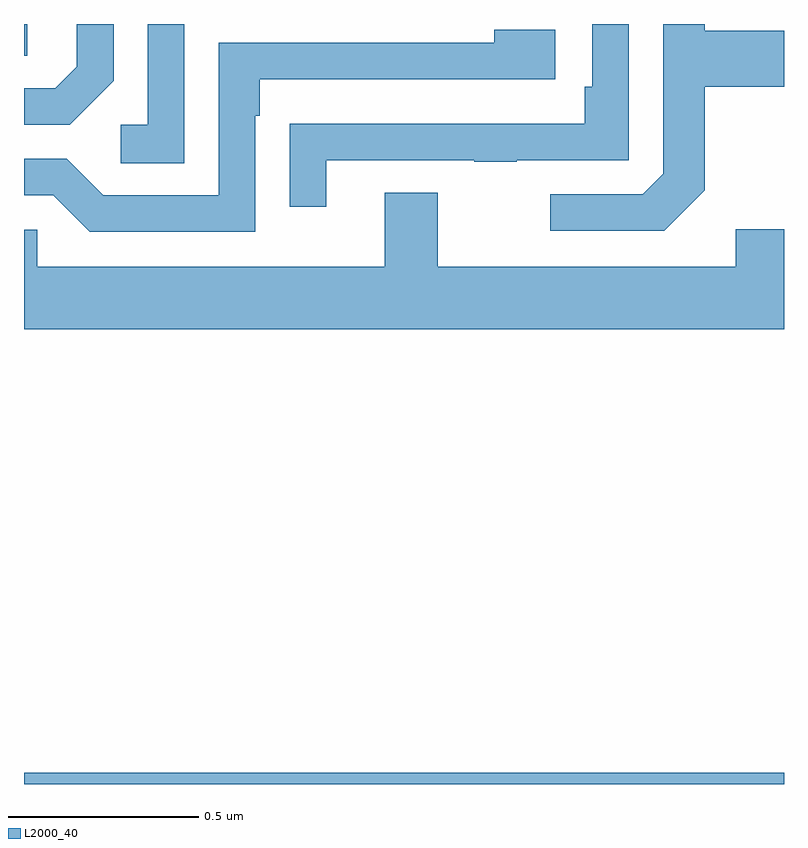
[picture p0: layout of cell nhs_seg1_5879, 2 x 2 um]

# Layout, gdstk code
import gdstk
lib = gdstk.Library(unit=1e-6, precision=1e-09)
def R(c, l, rs):  # rectangles x0, y0, x1, y1
    for r in rs: c.add(gdstk.rectangle(r[:2], r[2:], *l))
def P(c, l, *ps):  # polygons
    for p in ps: c.add(gdstk.Polygon(p, *l))
L2000_40 = (2000, 40)

nhs_seg1_5879 = lib.new_cell('nhs_seg1_5879')
R(nhs_seg1_5879, L2000_40, [(184,553.199,186,553.228), (184,555.115,184.008,555.199)])
P(nhs_seg1_5879, L2000_40, [(184.422,555.199),(184.326,555.199),(184.326,554.934),(184.254,554.934),(184.254,554.833),(184.422,554.833)],
  [(185.791,554.761),(185.791,555.034),(186,555.034),(186,555.181),(185.791,555.181),(185.791,555.199),(185.682,555.199),(185.682,554.805),(185.628,554.751),(185.385,554.751),(185.385,554.655),(185.685,554.655)],
  [(184.236,555.05),(184.236,555.199),(184.139,555.199),(184.139,555.087),(184.082,555.03),(184,555.03),(184,554.934),(184.12,554.934)],
  [(184.795,554.841),(185.185,554.841),(185.185,554.836),(185.297,554.836),(185.297,554.841),(185.592,554.841),(185.592,555.199),(185.496,555.199),(185.496,555.034),(185.476,555.034),(185.476,554.937),(184.801,554.937),(184.801,554.936),(184.699,554.936),(184.699,554.718),(184.795,554.718)],
  [(184.608,554.957),(184.621,554.957),(184.621,555.054),(185.398,555.054),(185.398,555.184),(185.237,555.184),(185.237,555.15),(184.512,555.15),(184.512,554.748),(184.209,554.748),(184.113,554.844),(184,554.844),(184,554.748),(184.077,554.748),(184.173,554.652),(184.608,554.652)],
  [(186,554.659),(185.873,554.659),(185.873,554.56),(185.089,554.56),(185.089,554.755),(184.949,554.755),(184.949,554.56),(184.035,554.56),(184.035,554.658),(184,554.658),(184,554.396),(186,554.396)])

lib.write_gds('nhs_seg1_5879.gds')
